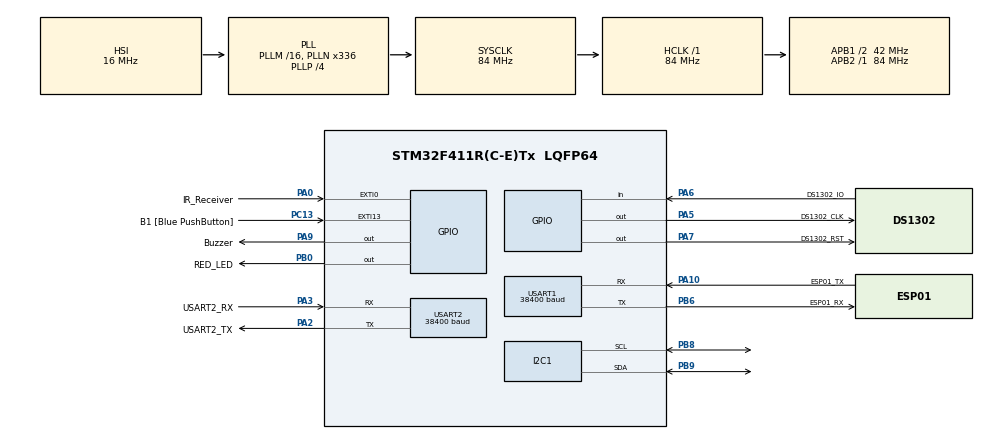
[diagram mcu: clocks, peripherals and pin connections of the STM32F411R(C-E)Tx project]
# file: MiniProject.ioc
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FREERTOS.Mutexes01=LCDMutex,Dynamic,NULL,Available
FREERTOS.Queues01=LCD_Queue,8,uint32_t,0,Dynamic,NULL,NULL
FREERTOS.Tasks01=TimeTask,24,128,StartTimeTask,Default,NULL,Dynamic,NULL,NULL;AlarmTask,40,128,StartAlarmTask,Default,NULL,Dynamic,NULL,NULL;IRTask,32,128,StartIRTask,Default,NULL,Dynamic,NULL,NULL;UIStateTask,24,128,StartUIStateTask,Default,NULL,Dynamic,NULL,NULL;LCDTask,24,128,StartLCDTask,Default,NULL,Dynamic,NULL,NULL;NTPTask,16,256,StartNTPTask,Default,NULL,Dynamic,NULL,NULL
FREERTOS.configUSE_NEWLIB_REENTRANT=1
Mcu.Family=STM32F4
Mcu.Name=STM32F411R(C-E)Tx
Mcu.Package=LQFP64
NVIC.EXTI0_IRQn=true\:5\:0\:false\:false\:true\:false\:true\:true\:true
NVIC.EXTI15_10_IRQn=true\:5\:0\:false\:false\:true\:true\:true\:true\:true
NVIC.PriorityGroup=NVIC_PRIORITYGROUP_4
NVIC.TIM2_IRQn=true\:5\:0\:false\:false\:true\:true\:true\:true\:true
NVIC.USART1_IRQn=true\:5\:0\:false\:false\:true\:true\:true\:true\:true
NVIC.USART2_IRQn=true\:5\:0\:false\:false\:true\:true\:true\:true\:true
PA0-WKUP.GPIO_Label=IR_Receiver
PA0-WKUP.GPIO_ModeDefaultEXTI=GPIO_MODE_IT_RISING_FALLING
PA0-WKUP.Signal=GPXTI0
PA10.GPIO_Label=ESP01_TX
PA10.Mode=Asynchronous
PA10.Signal=USART1_RX
PA14.GPIO_Label=TCK
PA14.Mode=Serial_Wire
PA14.Signal=SYS_JTCK-SWCLK
PA2.GPIO_Label=USART2_TX
PA2.Mode=Asynchronous
PA2.Signal=USART2_TX
PA3.GPIO_Label=USART2_RX
PA3.Mode=Asynchronous
PA3.Signal=USART2_RX
PA5.GPIO_Label=DS1302_CLK
PA5.Signal=GPIO_Output
PA6.GPIO_Label=DS1302_IO
PA6.Signal=GPIO_Input
PA7.GPIO_Label=DS1302_RST
PA7.Signal=GPIO_Output
PA9.GPIO_Label=Buzzer
PA9.GPIO_PuPd=GPIO_PULLDOWN
PA9.Signal=GPIO_Output
PB0.GPIO_Label=RED_LED
PB0.Signal=GPIO_Output
PB3.GPIO_Label=SWO
PB3.Signal=SYS_JTDO-SWO
PB6.GPIO_Label=ESP01_RX
PB6.Mode=Asynchronous
PB6.Signal=USART1_TX
PB8.Mode=I2C
PB8.Signal=I2C1_SCL
PB9.Mode=I2C
PB9.Signal=I2C1_SDA
PC13-ANTI_TAMP.GPIO_Label=B1 [Blue PushButton]
PC13-ANTI_TAMP.GPIO_ModeDefaultEXTI=GPIO_MODE_IT_FALLING
PC13-ANTI_TAMP.Signal=GPXTI13
PC14-OSC32_IN.Mode=LSE-External-Oscillator
PC14-OSC32_IN.Signal=RCC_OSC32_IN
PC15-OSC32_OUT.Mode=LSE-External-Oscillator
PC15-OSC32_OUT.Signal=RCC_OSC32_OUT
PH0\ -\ OSC_IN.Mode=HSE-External-Clock-Source
PH0\ -\ OSC_IN.Signal=RCC_OSC_IN
PH1\ -\ OSC_OUT.Mode=HSE-External-Clock-Source
PH1\ -\ OSC_OUT.Signal=RCC_OSC_OUT
ProjectManager.HeapSize=0x200
ProjectManager.StackSize=0x400
ProjectManager.TargetToolchain=CMake
RCC.48MHZClocksFreq_Value=84000000
RCC.AHBFreq_Value=84000000
RCC.APB1CLKDivider=RCC_HCLK_DIV2
RCC.APB1Freq_Value=42000000
RCC.APB1TimFreq_Value=84000000
RCC.APB2Freq_Value=84000000
RCC.APB2TimFreq_Value=84000000
RCC.CortexFreq_Value=84000000
RCC.FLatency-AdvancedSettings=FLASH_LATENCY_2
RCC.HCLKFreq_Value=84000000
RCC.HSE_VALUE=8000000
RCC.HSI_VALUE=16000000
RCC.PLLN=336
RCC.PLLP=RCC_PLLP_DIV4
RCC.SYSCLKFreq_VALUE=84000000
RCC.SYSCLKSource=RCC_SYSCLKSOURCE_PLLCLK
RCC.VCOOutputFreq_Value=336000000
RTC.Alarm=RTC_ALARM_A
TIM2.Period=0xFFFFFFFF
TIM2.Prescaler=83
USART1.BaudRate=38400
USART1.VirtualMode=VM_ASYNC
USART2.BaudRate=38400
USART2.VirtualMode=VM_ASYNC
VP_FREERTOS_VS_CMSIS_V2.Mode=CMSIS_V2
VP_RTC_VS_RTC_Activate.Mode=RTC_Enabled
VP_TIM2_VS_ClockSourceINT.Mode=Internal
board=NUCLEO-F411RE

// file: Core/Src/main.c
/* USER CODE BEGIN Header */
/**
  ******************************************************************************
  * @file           : main.c
  * @brief          : Main program body
  ******************************************************************************
  * @attention
  *
  * Copyright (c) 2025 STMicroelectronics.
  * All rights reserved.
  *
  * This software is licensed under terms that can be found in the LICENSE file
  * in the root directory of this software component.
  * If no LICENSE file comes with this software, it is provided AS-IS.
  *
  ******************************************************************************
  */
/* USER CODE END Header */
#include "main.h"
#include "cmsis_os.h"
#include "i2c.h"
#include "rtc.h"
#include "tim.h"
#include "usart.h"
#include "gpio.h"

/* USER CODE BEGIN Includes */
#include "stm32f4xx_hal.h"
#include "lcd.h"
#include "ir_decode.h"
#include <stdio.h>
#include <string.h>
#include "ds1302.h"
#include "ntptimer.h"
/* USER CODE END Includes */

/* USER CODE BEGIN PD */
// NEC IR 리모컨 타이밍 정의
/* USER CODE END PD */

/* USER CODE BEGIN PV */
volatile uint32_t ir_data = 0;
volatile uint8_t bit_cnt = 0;
volatile uint8_t ir_key_ready = 0;
volatile uint8_t receiving = 0;

//알람 시간 관련 전역 변수
uint8_t alarm_hour = 255;
uint8_t alarm_min = 255;
uint8_t alarm_sec = 255;

uint8_t alarm_setting_mode = 0;       // 1: 설정 중, 0: 설정 아님
uint8_t alarm_hour_input_idx = 0;
uint8_t alarm_min_input_idx = 0;
uint8_t alarm_sec_input_idx = 0;
uint8_t alarm_hour_digits[2] = {0};
uint8_t alarm_min_digits[2] = {0};
uint8_t alarm_sec_digits[2] = {0};
///////////////////////////////////////////
uint8_t setup_hour_digits[2] = {0, 0};
uint8_t setup_min_digits[2] = {0, 0};
uint8_t setup_sec_digits[2] = {0, 0};
uint8_t setup_hour_input_idx = 0;
uint8_t setup_min_input_idx = 0;
uint8_t setup_sec_input_idx = 0;

uint8_t digit_input_stage = 0;  // 0: 첫 자리, 1: 둘째 자리
uint8_t temp_digit = 0;
uint8_t isWiFiready = 0;
RTC_TimeTypeDef WiFiTime;
RTC_DateTypeDef WiFiDate;

/* USER CODE END PV */

void SystemClock_Config(void);
void MX_FREERTOS_Init(void);

int main(void)
{

  /* MCU Configuration--------------------------------------------------------*/

  /* Reset of all peripherals, Initializes the Flash interface and the Systick. */
  HAL_Init();

  /* Configure the system clock */
  SystemClock_Config();

  /* Initialize all configured peripherals */
  MX_GPIO_Init();
  MX_USART2_UART_Init();
  MX_I2C1_Init();
  MX_RTC_Init();
  MX_TIM2_Init();
  MX_USART1_UART_Init();
  /* USER CODE BEGIN 2 */
  HAL_TIM_Base_Start(&htim2); // TIM2 타이머 시작
  reset_ir_state();

  // 처음 한 번만 RTC 설정
  //HAL_RTCEx_BKUPWrite(&hrtc, RTC_BKP_DR1, 0x0000);  // 강제 초기화 (개발 중 1회)
  //if (HAL_RTCEx_BKUPRead(&hrtc, RTC_BKP_DR1) != 0x32F2) {
  //Parse_CompileTime_And_Set_RTC();  // 최초 1회만 설정
  //}

  /* USER CODE END 2 */

  /* Init scheduler */
  osKernelInitialize();  /* Call init function for freertos objects (in cmsis_os2.c) */
  MX_FREERTOS_Init();

  /* Start scheduler */
  osKernelStart();

  /* We should never get here as control is now taken by the scheduler */

  /* Infinite loop */
  while (1)
  {

  }
}

void SystemClock_Config(void)
{
  RCC_OscInitTypeDef RCC_OscInitStruct = {0};
  RCC_ClkInitTypeDef RCC_ClkInitStruct = {0};

  /** Configure the main internal regulator output voltage
  */
  __HAL_RCC_PWR_CLK_ENABLE();
  __HAL_PWR_VOLTAGESCALING_CONFIG(PWR_REGULATOR_VOLTAGE_SCALE1);

  /** Initializes the RCC Oscillators according to the specified parameters
  * in the RCC_OscInitTypeDef structure.
  */
  RCC_OscInitStruct.OscillatorType = RCC_OSCILLATORTYPE_HSI|RCC_OSCILLATORTYPE_LSI;
  RCC_OscInitStruct.HSIState = RCC_HSI_ON;
  RCC_OscInitStruct.HSICalibrationValue = RCC_HSICALIBRATION_DEFAULT;
  RCC_OscInitStruct.LSIState = RCC_LSI_ON;
  RCC_OscInitStruct.PLL.PLLState = RCC_PLL_ON;
  RCC_OscInitStruct.PLL.PLLSource = RCC_PLLSOURCE_HSI;
  RCC_OscInitStruct.PLL.PLLM = 16;
  RCC_OscInitStruct.PLL.PLLN = 336;
  RCC_OscInitStruct.PLL.PLLP = RCC_PLLP_DIV4;
  RCC_OscInitStruct.PLL.PLLQ = 4;
  if (HAL_RCC_OscConfig(&RCC_OscInitStruct) != HAL_OK)
  {
    Error_Handler();
  }

  /** Initializes the CPU, AHB and APB buses clocks
  */
  RCC_ClkInitStruct.ClockType = RCC_CLOCKTYPE_HCLK|RCC_CLOCKTYPE_SYSCLK
                              |RCC_CLOCKTYPE_PCLK1|RCC_CLOCKTYPE_PCLK2;
  RCC_ClkInitStruct.SYSCLKSource = RCC_SYSCLKSOURCE_PLLCLK;
  RCC_ClkInitStruct.AHBCLKDivider = RCC_SYSCLK_DIV1;
  RCC_ClkInitStruct.APB1CLKDivider = RCC_HCLK_DIV2;
  RCC_ClkInitStruct.APB2CLKDivider = RCC_HCLK_DIV1;

  if (HAL_RCC_ClockConfig(&RCC_ClkInitStruct, FLASH_LATENCY_2) != HAL_OK)
  {
    Error_Handler();
  }
}

/* USER CODE BEGIN 4 */
void HAL_GPIO_EXTI_Callback(uint16_t GPIO_Pin) {
    if (GPIO_Pin == GPIO_PIN_0) {
        if (HAL_GPIO_ReadPin(GPIOA, GPIO_PIN_0) == GPIO_PIN_SET)
        {
            __HAL_TIM_SET_COUNTER(&htim2, 0); // Rising : 시간 초기
        }
        else
        {
            uint16_t delta = __HAL_TIM_GET_COUNTER(&htim2); // Falling : 시간 측정
            check_ir(delta);
        }
    }
}

void HAL_UART_RxCpltCallback(UART_HandleTypeDef *huart){

	NTP_UART_RxCallback(huart);
}

/* USER CODE END 4 */

void Error_Handler(void)
{
  __disable_irq();
  while (1)
  {
  }
}

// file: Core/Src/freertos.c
/* USER CODE BEGIN Header */
/**
  ******************************************************************************
  * File Name          : freertos.c
  * Description        : Code for freertos applications
  ******************************************************************************
  * @attention
  *
  * Copyright (c) 2025 STMicroelectronics.
  * All rights reserved.
  *
  * This software is licensed under terms that can be found in the LICENSE file
  * in the root directory of this software component.
  * If no LICENSE file comes with this software, it is provided AS-IS.
  *
  ******************************************************************************
  */
/* USER CODE END Header */

#include "FreeRTOS.h"
#include "task.h"
#include "main.h"
#include "cmsis_os.h"

/* USER CODE BEGIN Includes */
#include "rtc.h"
#include "lcd.h"
#include "ir_decode.h"
#include "ds1302.h"
#include <string.h>
#include <stdlib.h>
#include <stdio.h>
#include <stdbool.h>
#include "queue.h"
#include "ntptimer.h"
/* USER CODE END Includes */

/* USER CODE BEGIN PTD */
extern I2C_HandleTypeDef hi2c1;
extern UART_HandleTypeDef huart2;
extern UART_HandleTypeDef huart1;
extern RTC_HandleTypeDef hrtc;
extern TIM_HandleTypeDef htim2;

RTC_TimeTypeDef nowTime;
RTC_DateTypeDef nowDate;
RTC_TimeTypeDef rtc_time;
RTC_DateTypeDef rtc_date;
RTC_TimeTypeDef alarmTime = {0};

RTC_TimeTypeDef setup_time;
/* USER CODE END PTD */

/* USER CODE BEGIN PD */
#define LCD_QUEUE_LENGTH 8
#define LCD_QUEUE_ITEM_SIZE 32  // LCD 한 줄은 최대 16글자지만 여유 확보
/* USER CODE END PD */

/* USER CODE BEGIN PM */
SystemMode current_mode = MODE_IDLE;
TimeSelectMode selected_time_field = TIME_FIELD_NONE;
AlarmSelectMode selected_alarm_field = ALARM_FIELD_NONE;

//QueueHandle_t lcdQueue;  // 전역 Queue 핸들
/* USER CODE END PM */

/* USER CODE BEGIN Variables */
volatile int alarm_triggered_flag = 0;
uint32_t alarm_triggered_tick = 0;

volatile int time_set_done_flag = 0;
uint32_t time_set_done_tick = 0;

volatile int time_restored_RTC_flag = 0;
uint32_t time_restored_RTC_tick = 0;

volatile int time_restored_WIFI_flag = 0;
uint32_t time_restored_WIFI_tick = 0;

volatile int time_sync_fail_flag = 0;
uint32_t time_sync_fail_tick = 0;

uint8_t alarm_triggered = 0;

bool ui_second_line_disabled = false; // EQ 버튼 이후 2행 비활성화 상태

bool alarm_is_set = false;
bool date_display_enabled = false;
extern RTC_TimeTypeDef WiFiTime;
extern RTC_DateTypeDef WiFiDate;

extern uint8_t isWiFiready;

/* USER CODE END Variables */
/* Definitions for TimeTask */
osThreadId_t TimeTaskHandle;
const osThreadAttr_t TimeTask_attributes = {
  .name = "TimeTask",
  .stack_size = 128 * 4,
  .priority = (osPriority_t) osPriorityNormal,
};
/* Definitions for AlarmTask */
osThreadId_t AlarmTaskHandle;
const osThreadAttr_t AlarmTask_attributes = {
  .name = "AlarmTask",
  .stack_size = 128 * 4,
  .priority = (osPriority_t) osPriorityHigh,
};
/* Definitions for IRTask */
osThreadId_t IRTaskHandle;
const osThreadAttr_t IRTask_attributes = {
  .name = "IRTask",
  .stack_size = 128 * 4,
  .priority = (osPriority_t) osPriorityAboveNormal,
};
/* Definitions for UIStateTask */
osThreadId_t UIStateTaskHandle;
const osThreadAttr_t UIStateTask_attributes = {
  .name = "UIStateTask",
  .stack_size = 128 * 4,
  .priority = (osPriority_t) osPriorityNormal,
};
/* Definitions for LCDTask */
osThreadId_t LCDTaskHandle;
const osThreadAttr_t LCDTask_attributes = {
  .name = "LCDTask",
  .stack_size = 128 * 4,
  .priority = (osPriority_t) osPriorityNormal,
};
/* Definitions for NTPTask */
osThreadId_t NTPTaskHandle;
const osThreadAttr_t NTPTask_attributes = {
  .name = "NTPTask",
  .stack_size = 256 * 4,
  .priority = (osPriority_t) osPriorityBelowNormal,
};
/* Definitions for LCD_Queue */
osMessageQueueId_t LCD_QueueHandle;
const osMessageQueueAttr_t LCD_Queue_attributes = {
  .name = "LCD_Queue"
};
/* Definitions for LCDMutex */
osMutexId_t LCDMutexHandle;
const osMutexAttr_t LCDMutex_attributes = {
  .name = "LCDMutex"
};

void StartTimeTask(void *argument);
void StartAlarmTask(void *argument);
void StartIRTask(void *argument);
void StartUIStateTask(void *argument);
void StartLCDTask(void *argument);
void StartNTPTask(void *argument);

void MX_FREERTOS_Init(void); /* (MISRA C 2004 rule 8.1) */

void MX_FREERTOS_Init(void) {
  /* Create the mutex(es) */
  /* creation of LCDMutex */
  LCDMutexHandle = osMutexNew(&LCDMutex_attributes);

  /* Create the queue(s) */
  /* creation of LCD_Queue */
  LCD_QueueHandle = osMessageQueueNew (8, sizeof(uint32_t), &LCD_Queue_attributes);

  /* Create the thread(s) */
  /* creation of TimeTask */
  TimeTaskHandle = osThreadNew(StartTimeTask, NULL, &TimeTask_attributes);

  /* creation of AlarmTask */
  AlarmTaskHandle = osThreadNew(StartAlarmTask, NULL, &AlarmTask_attributes);

  /* creation of IRTask */
  IRTaskHandle = osThreadNew(StartIRTask, NULL, &IRTask_attributes);

  /* creation of UIStateTask */
  UIStateTaskHandle = osThreadNew(StartUIStateTask, NULL, &UIStateTask_attributes);

  /* creation of LCDTask */
  LCDTaskHandle = osThreadNew(StartLCDTask, NULL, &LCDTask_attributes);

  /* creation of NTPTask */
  NTPTaskHandle = osThreadNew(StartNTPTask, NULL, &NTPTask_attributes);

}

void StartTimeTask(void *argument)
{
  /* USER CODE BEGIN StartTimeTask */
	//LCD_Init(&hi2c1);
	RTC_TimeTypeDef prev_time = {0}, curr_time;
	RTC_DateTypeDef curr_date;
	char buf[32];

	uint32_t last_backup_tick = 0;  // 🔹 백업 간격 측정용

	for (;;) {
	    HAL_RTC_GetTime(&hrtc, &curr_time, RTC_FORMAT_BIN);
	    HAL_RTC_GetDate(&hrtc, &curr_date, RTC_FORMAT_BIN); // 중요!

	    if (curr_time.Seconds != prev_time.Seconds) {
	        prev_time = curr_time;

	        snprintf(buf, sizeof(buf), "Time: %02d:%02d:%02d  ",
	                 curr_time.Hours, curr_time.Minutes, curr_time.Seconds);
	        osMutexAcquire(LCDMutexHandle, osWaitForever);
	        LCD_SetCursor(0, 0);
	        LCD_Print(buf);
	        osMutexRelease(LCDMutexHandle);

	        // 3초 마다 DS1302에 시간 백업, 1초마다로 하면 너무 자주 ds1302를 호출해서 시간 저장/읽기 기능오작동 할수있음
			if (((osKernelGetTickCount() - last_backup_tick) >= 3000) && (!isWiFiready)) {
				HAL_RTC_GetTime(&hrtc, &curr_time, RTC_FORMAT_BIN);
				HAL_RTC_GetDate(&hrtc, &curr_date, RTC_FORMAT_BIN);
				DS1302_SetTime(&curr_time, &curr_date);
				last_backup_tick = osKernelGetTickCount();
			}
	}
	    osDelay(10);  // 부하 적고, 밀림도 없음
	}
  /* USER CODE END StartTimeTask */
}

void StartAlarmTask(void *argument)
{
  /* USER CODE BEGIN StartAlarmTask */
	RTC_TimeTypeDef sTime;

	for (;;) {
		if (alarm_is_set && !alarm_triggered) { // 이전에 !alarm_setting_mode였음
			HAL_RTC_GetTime(&hrtc, &sTime, RTC_FORMAT_BIN);
			if (sTime.Hours == alarm_hour &&
				sTime.Minutes == alarm_min &&
		        sTime.Seconds >= alarm_sec &&
		        sTime.Seconds < alarm_sec + 2) {

				alarm_triggered = 1;
				alarm_is_set = false;  // 알람 울렸으니 설정 해제
				alarm_hour = alarm_min = alarm_sec = 255;  // 🔹 추가로 추천

				for (int i = 0; i < 1; ++i) {
					HAL_GPIO_WritePin(GPIOA, GPIO_PIN_9, GPIO_PIN_SET);   // 부저 ON
					HAL_GPIO_WritePin(GPIOB, GPIO_PIN_0, GPIO_PIN_SET);   // LED ON
					osDelay(250);
					HAL_GPIO_WritePin(GPIOA, GPIO_PIN_9, GPIO_PIN_RESET); // 부저 OFF
					HAL_GPIO_WritePin(GPIOB, GPIO_PIN_0, GPIO_PIN_RESET); // LED OFF
					osDelay(250);
				}

			    // 🟢 LCD에 알람 메시지 띄우기 요청
			    alarm_triggered_flag = 1;
			    alarm_triggered_tick = osKernelGetTickCount();
			}
		}
		osDelay(500);
	}
  /* USER CODE END StartAlarmTask */
}

void StartIRTask(void *argument)
{
  /* USER CODE BEGIN StartIRTask */
	for (;;) {
		if (ir_key_ready) {
		  uint8_t cmd = (ir_data >> 16) & 0xFF;
		  ir_key_ready = 0;

		  if (cmd == 0x44) { // << 버튼: 시간 설정 진입 또는 완료
			if (current_mode == MODE_IDLE) {
			  current_mode = MODE_SET_TIME;
			  selected_time_field = TIME_FIELD_HOUR;

			  setup_hour_digits[0] = setup_hour_digits[1] = 0;
			  setup_min_digits[0] = setup_min_digits[1] = 0;
			  setup_sec_digits[0] = setup_sec_digits[1] = 0;
			  setup_hour_input_idx = setup_min_input_idx = setup_sec_input_idx = 0;

			  osMutexAcquire(LCDMutexHandle, osWaitForever);
			  LCD_SetCursor(1, 0);
			  LCD_Print("Set Time Mode     ");
			  osMutexRelease(LCDMutexHandle);
			  osDelay(1000);
			}
			else if (current_mode == MODE_SET_TIME) {
			  RTC_DateTypeDef date;
			  HAL_RTC_GetDate(&hrtc, &date, RTC_FORMAT_BIN);

			  setup_time.Hours = setup_hour_digits[0] * 10 + setup_hour_digits[1];
			  setup_time.Minutes = setup_min_digits[0] * 10 + setup_min_digits[1];
			  setup_time.Seconds = setup_sec_digits[0] * 10 + setup_sec_digits[1];

			  HAL_RTC_SetTime(&hrtc, &setup_time, RTC_FORMAT_BIN);
			  DS1302_SetTime(&setup_time, &date);

			  current_mode = MODE_IDLE;
			  selected_time_field = TIME_FIELD_NONE;

			  osMutexAcquire(LCDMutexHandle, osWaitForever);
			  LCD_SetCursor(1, 0);
			  LCD_Print("Time Set Done     ");
			  osMutexRelease(LCDMutexHandle);

			  time_set_done_flag = 1;
			  time_set_done_tick = osKernelGetTickCount();
			  osDelay(1000);
			}
		  }

		  else if (cmd == 0x43) { // Play 버튼: 알람 설정 진입 또는 완료
			if (current_mode == MODE_IDLE) {
			  current_mode = MODE_SET_ALARM;
			  selected_alarm_field = ALARM_FIELD_HOUR;

			  alarm_hour_input_idx = alarm_min_input_idx = alarm_sec_input_idx = 0;
			  alarm_hour_digits[0] = alarm_hour_digits[1] = 0;
			  alarm_min_digits[0] = alarm_min_digits[1] = 0;
			  alarm_sec_digits[0] = alarm_sec_digits[1] = 0;

			  osMutexAcquire(LCDMutexHandle, osWaitForever);
			  LCD_SetCursor(1, 0);
			  LCD_Print("Setup Alarm...");
			  osMutexRelease(LCDMutexHandle);
			  osDelay(1000);
			}
			else if (current_mode == MODE_SET_ALARM) {
			  alarm_hour = alarm_hour_digits[0] * 10 + alarm_hour_digits[1];
			  alarm_min = alarm_min_digits[0] * 10 + alarm_min_digits[1];
			  alarm_sec = alarm_sec_digits[0] * 10 + alarm_sec_digits[1];
			  current_mode = MODE_IDLE;
			  alarm_is_set = true;

			  char msg[25];
			  sprintf(msg, "Alarm: %02d:%02d:%02d  ", alarm_hour, alarm_min, alarm_sec);
			  osMutexAcquire(LCDMutexHandle, osWaitForever);
			  LCD_SetCursor(1, 0);
			  LCD_Print(msg);
			  osMutexRelease(LCDMutexHandle);
			}
		  }

		  // 시/분/초 필드 선택
		  else if (cmd == 0x45) { // CH-
			if (current_mode == MODE_SET_TIME) selected_time_field = TIME_FIELD_HOUR;
			else if (current_mode == MODE_SET_ALARM) selected_alarm_field = ALARM_FIELD_HOUR;
		  }
		  else if (cmd == 0x46) { // CH
			if (current_mode == MODE_SET_TIME) selected_time_field = TIME_FIELD_MINUTE;
			else if (current_mode == MODE_SET_ALARM) selected_alarm_field = ALARM_FIELD_MINUTE;
		  }
		  else if (cmd == 0x47) { // CH+
			if (current_mode == MODE_SET_TIME) selected_time_field = TIME_FIELD_SECOND;
			else if (current_mode == MODE_SET_ALARM) selected_alarm_field = ALARM_FIELD_SECOND;
		  }

		  // 숫자 입력 (공통)
		  else if (cmd == 0x16 || cmd == 0x0C || cmd == 0x18 || cmd == 0x5E ||
				   cmd == 0x08 || cmd == 0x1C || cmd == 0x5A || cmd == 0x42 ||
				   cmd == 0x52 || cmd == 0x4A) {
			uint8_t num = 0xFF;
			switch (cmd) {
			  case 0x16: num = 0; break;
			  case 0x0C: num = 1; break;
			  case 0x18: num = 2; break;
			  case 0x5E: num = 3; break;
			  case 0x08: num = 4; break;
			  case 0x1C: num = 5; break;
			  case 0x5A: num = 6; break;
			  case 0x42: num = 7; break;
			  case 0x52: num = 8; break;
			  case 0x4A: num = 9; break;
			}

			if (current_mode == MODE_SET_TIME && selected_time_field != TIME_FIELD_NONE) {
			  if (selected_time_field == TIME_FIELD_HOUR) {
				setup_hour_digits[setup_hour_input_idx] = num;
				setup_hour_input_idx = (setup_hour_input_idx + 1) % 2;
			  }
			  else if (selected_time_field == TIME_FIELD_MINUTE) {
				setup_min_digits[setup_min_input_idx] = num;
				setup_min_input_idx = (setup_min_input_idx + 1) % 2;
			  }
			  else if (selected_time_field == TIME_FIELD_SECOND) {
				setup_sec_digits[setup_sec_input_idx] = num;
				setup_sec_input_idx = (setup_sec_input_idx + 1) % 2;
			  }
			}
			else if (current_mode == MODE_SET_ALARM && selected_alarm_field != ALARM_FIELD_NONE) {
			  if (selected_alarm_field == ALARM_FIELD_HOUR) {
				alarm_hour_digits[alarm_hour_input_idx] = num;
				alarm_hour_input_idx = (alarm_hour_input_idx + 1) % 2;
			  }
			  else if (selected_alarm_field == ALARM_FIELD_MINUTE) {
				alarm_min_digits[alarm_min_input_idx] = num;
				alarm_min_input_idx = (alarm_min_input_idx + 1) % 2;
			  }
			  else if (selected_alarm_field == ALARM_FIELD_SECOND) {
				alarm_sec_digits[alarm_sec_input_idx] = num;
				alarm_sec_input_idx = (alarm_sec_input_idx + 1) % 2;
			  }
			}
		  }

		  else if (cmd == 0x07) {  // - 버튼: 날짜 출력
			  date_display_enabled = true;
		      RTC_DateTypeDef date;
		      HAL_RTC_GetDate(&hrtc, &date, RTC_FORMAT_BIN);

		      char dateStr[32];
		      snprintf(dateStr, sizeof(dateStr), "Date: %04d-%02d-%02d  ",
		               2000 + date.Year, date.Month, date.Date);

		      osMutexAcquire(LCDMutexHandle, osWaitForever);
		      LCD_SetCursor(1, 0);  // 2행 0열
		      LCD_Print(dateStr);
		      osMutexRelease(LCDMutexHandle);
		  }

		  else if (cmd == 0x19) {  // 100+ 버튼: WIFI에서 시간 복원 후 LCD 0행에 표시
		      RTC_TimeTypeDef dsTime;
		      RTC_DateTypeDef dsDate;
		      char ntp_msg[32];

		      if (isWiFiready) {
		    	  DS1302_GetTime(&dsTime, &dsDate);  // ds1302에서 백업된 시간 불러오기

		          HAL_RTC_SetTime(&hrtc, &dsTime, RTC_FORMAT_BIN);
		          HAL_RTC_SetDate(&hrtc, &dsDate, RTC_FORMAT_BIN);

		          // LCD 0행에 NTP 시간 한 번 출력
		          snprintf(ntp_msg, sizeof(ntp_msg), "NTP: %02d:%02d:%02d  ",
		                   dsTime.Hours, dsTime.Minutes, dsTime.Seconds);

		          osMutexAcquire(LCDMutexHandle, osWaitForever);
		          LCD_SetCursor(0, 0);
		          LCD_Print(ntp_msg);
		          osMutexRelease(LCDMutexHandle);

		          time_restored_WIFI_flag = 1;
		          time_restored_WIFI_tick = osKernelGetTickCount();

		          osDelay(1000);
		      }
		      else {
		          // LCD 1행에 실패 메시지 → 플래그 사용
		          time_sync_fail_flag = 1;
		          time_sync_fail_tick = osKernelGetTickCount();
		      }
		  }

		  else if (cmd == 0x0D) {  // 200+ 버튼: DS1302에서 시간 복원
		      RTC_TimeTypeDef dsTime;
		      RTC_DateTypeDef dsDate;
		      //char log[64];

		      DS1302_GetTime(&dsTime, &dsDate);  // ds1302에서 백업된 시간 불러오기

		      HAL_RTC_SetTime(&hrtc, &dsTime, RTC_FORMAT_BIN); // 불러온 시간 RTC에 저장
		      HAL_RTC_SetDate(&hrtc, &dsDate, RTC_FORMAT_BIN); // 불러온 날짜 RTC에 저장

		      //HAL_UART_Transmit(&huart2, (uint8_t*)log, strlen(log), 100);
		      time_restored_RTC_flag = 1;
		      time_restored_RTC_tick = osKernelGetTickCount();
		      osDelay(1000);
		  }

		  // EQ 버튼: 시간/알람 설정 취소
		  else if (cmd == 0x09) {
			if (current_mode == MODE_SET_TIME || current_mode == MODE_SET_ALARM) {
			  current_mode = MODE_IDLE;
			  selected_time_field = TIME_FIELD_NONE;
			  selected_alarm_field = ALARM_FIELD_NONE;
			  alarm_is_set = false;

			  alarm_hour = alarm_min = alarm_sec = 255;
			  date_display_enabled = false;
			  alarm_triggered = 0;

			  // 2행을 표시하지 않도록 관련 플래그 초기화

			  osMutexAcquire(LCDMutexHandle, osWaitForever);
			  LCD_SetCursor(1, 0);
			  LCD_Print("                ");
			  osMutexRelease(LCDMutexHandle);
			}
		  }
		  reset_ir_state();  // 수신 완료 후 초기화
		}
		osDelay(30);
	}
  /* USER CODE END StartIRTask */
}

void StartUIStateTask(void *argument)
{
  /* USER CODE BEGIN StartUIStateTask */
	char buf[32];
	for (;;) {
	osMutexAcquire(LCDMutexHandle, osWaitForever);

	// 1️⃣ Alarm Triggered
	if (alarm_triggered_flag) {
	  if ((osKernelGetTickCount() - alarm_triggered_tick) <= 1000) {
		LCD_SetCursor(1, 0);
		LCD_Print("Alarm Triggered   ");
		osMutexRelease(LCDMutexHandle);
		osDelay(200);
		continue;
	  } else {
		alarm_triggered_flag = 0;
		LCD_SetCursor(1, 0);
		LCD_Print("                ");
		osMutexRelease(LCDMutexHandle);
		osDelay(200);
		continue;
	  }
	}

	// 2️⃣ Time Set Done
	if (time_set_done_flag) {
	  if ((osKernelGetTickCount() - time_set_done_tick) <= 1000) {
		LCD_SetCursor(1, 0);
		LCD_Print("Time Set Done     ");
		osMutexRelease(LCDMutexHandle);
		osDelay(200);
		continue;
	  } else {
		time_set_done_flag = 0;
		LCD_SetCursor(1, 0);
		LCD_Print("                ");
		osMutexRelease(LCDMutexHandle);
		osDelay(200);
		continue;
	  }
	}

	// 3️⃣ Time Restored (DS1302)
	if (time_restored_RTC_flag || time_restored_WIFI_flag) {
	  if ((osKernelGetTickCount() - time_restored_RTC_tick) <= 1000) {
		LCD_SetCursor(1, 0);
		LCD_Print("Refresh(RTC)     ");
		osMutexRelease(LCDMutexHandle);
		osDelay(200);
		continue;
	  }
	  else if ((osKernelGetTickCount() - time_restored_WIFI_tick) <= 1000) {
		LCD_SetCursor(1, 0);
		LCD_Print("Refresh(WIFI)     ");
		osMutexRelease(LCDMutexHandle);
		osDelay(200);
		continue;
	  }
	  else {
		if(time_restored_RTC_flag == 1) time_restored_RTC_flag = 0;
		if(time_restored_WIFI_flag == 1) time_restored_WIFI_flag = 0;
		LCD_SetCursor(1, 0);
		LCD_Print("                ");
		osMutexRelease(LCDMutexHandle);
		osDelay(200);
		continue;
	  }
	}

	// 0️⃣ NTP Sync Fail
	if (time_sync_fail_flag) {
	    if ((osKernelGetTickCount() - time_sync_fail_tick) <= 1000) {
	        LCD_SetCursor(1, 0);
	        LCD_Print("NTP Sync Fail    ");
	        osMutexRelease(LCDMutexHandle);
	        osDelay(200);
	        continue;
	    } else {
	        time_sync_fail_flag = 0;
	        LCD_SetCursor(1, 0);
	        LCD_Print("                ");
	        osMutexRelease(LCDMutexHandle);
	        osDelay(200);
	        continue;
	    }
	}

	// 🌐 기본 출력 (날짜, 설정 중, 알람 설정 등)
	else if (date_display_enabled) {
	  RTC_DateTypeDef sDate;
	  HAL_RTC_GetDate(&hrtc, &sDate, RTC_FORMAT_BIN);
	  snprintf(buf, sizeof(buf), "Date: %04d/%02d/%02d",
			   2000 + sDate.Year, sDate.Month, sDate.Date);
	  LCD_SetCursor(1, 0);
	  LCD_Print(buf);
	}
	else if (current_mode == MODE_SET_ALARM) {
	  snprintf(buf, sizeof(buf), "SetA: %d%d:%d%d:%d%d  ",
			   alarm_hour_digits[0], alarm_hour_digits[1],
			   alarm_min_digits[0], alarm_min_digits[1],
			   alarm_sec_digits[0], alarm_sec_digits[1]);
	  LCD_SetCursor(1, 0);
	  LCD_Print(buf);
	}
	else if (current_mode == MODE_SET_TIME) {
	  snprintf(buf, sizeof(buf), "SetT: %d%d:%d%d:%d%d  ",
			   setup_hour_digits[0], setup_hour_digits[1],
			   setup_min_digits[0], setup_min_digits[1],
			   setup_sec_digits[0], setup_sec_digits[1]);
	  LCD_SetCursor(1, 0);
	  LCD_Print(buf);
	}
	else if (current_mode == MODE_IDLE) {
	  if (alarm_is_set && !(alarm_hour == 255 || alarm_min == 255 || alarm_sec == 255)) {
		snprintf(buf, sizeof(buf), "Alarm: %02d:%02d:%02d  ",
				 alarm_hour, alarm_min, alarm_sec);
		LCD_SetCursor(1, 0);
		LCD_Print(buf);
	  } else {
		LCD_SetCursor(1, 0);
		LCD_Print("                ");
	  }
	}

	osMutexRelease(LCDMutexHandle);
	osDelay(200);
	}
  /* USER CODE END StartUIStateTask */
}

void StartLCDTask(void *argument)
{
  /* USER CODE BEGIN StartLCDTask */
  osDelay(500);   // 전원 안정화 대기
  LCD_Init(&hi2c1);

  char msg[LCD_QUEUE_ITEM_SIZE];
  /* Infinite loop */
  for(;;)
  {
    // CMSIS RTOS2 방식으로 메시지 수신
	if (osMessageQueueGet(LCD_QueueHandle, msg, NULL, osWaitForever) == osOK) {
		osMutexAcquire(LCDMutexHandle, osWaitForever);
		LCD_SetCursor(0, 0);
		LCD_Print(msg);
		osMutexRelease(LCDMutexHandle);
	}
  }
  /* USER CODE END StartLCDTask */
}

void StartNTPTask(void *argument)
{
  /* USER CODE BEGIN StartNTPTask */
  // 태스크 시작 후 즉시 NTP 동기화 요청 (테스트용)
  osDelay(3000);  // 시스템이 안정화될 때까지 3초 대기
  //NTP_RequestTimeSync();  // 즉시 NTP 동기화 요청
  //Debug_Print("Start NTP Task\r\n");
  NTP_Timer_Init(&huart1, &huart2);
  /* Infinite loop */
  for(;;)
  {
    // NTP 타이머 태스크 실행
    NTP_Timer_Task(argument);
    osDelay(100);
  }
  /* USER CODE END StartNTPTask */
}
